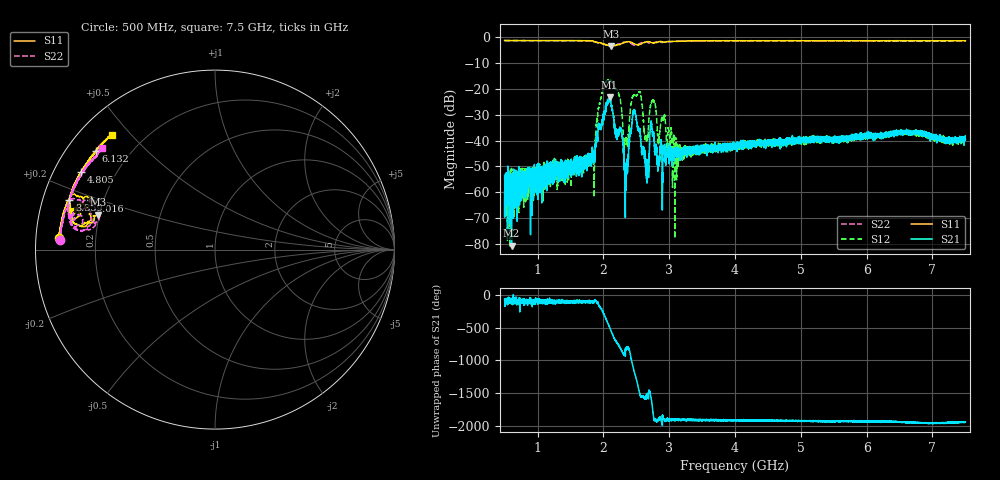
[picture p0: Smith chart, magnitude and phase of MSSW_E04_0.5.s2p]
!Keysight Technologies,M9374A,MY55442783,A.12.55.05
!Date: Wednesday, May 19, 2021 18:09:39
!Correction: S11(Full 2 Port(1,2))
!S21(Full 2 Port(1,2))
!S12(Full 2 Port(1,2))
!S22(Full 2 Port(1,2))
!S2P File: Measurements: S11, S21, S12, S22:
# Hz S  RI  R 50
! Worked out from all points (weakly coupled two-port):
!   7001 points, 500 MHz to 7.5 GHz, reference 50 ohm
!   highest |S21| = -23.20 dB at 2.095 GHz (marker M1); lowest = -80.8 dB at 605 MHz (marker M2)
!   lowest |S11| = -3.3 dB at 2.114 GHz (marker M3), VSWR 5.29, Z = 9.64 + j7.01 ohm
!   |S11| at or under -10 dB: nowhere
!   |S22| runs from -3.5 to -1.2 dB; largest |S21 - S12| = 0.11
!   S11 on the Smith chart (normalised r, x): 500 MHz: 0.07, +0.04; 2.016 GHz: 0.15, +0.19; 3.359 GHz: 0.08, +0.17; 4.805 GHz: 0.08, +0.27; 6.132 GHz: 0.08, +0.36; 7.5 GHz: 0.09, +0.44
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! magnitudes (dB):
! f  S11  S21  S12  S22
! 500 MHz  -1.2  -59.7  -53.3  -1.3
! 605 MHz  -1.2  -80.8  -57.8  -1.2
! 1.667 GHz  -1.3  -46.5  -49.0  -1.3
! 1.842 GHz  -1.4  -45.0  -46.9  -1.4
! 2.016 GHz  -2.6  -29.1  -18.7  -2.7
! 2.095 GHz  -3.2  -23.2  -16.9  -3.4
! 2.114 GHz  -3.3  -24.7  -16.7  -3.5
! 2.239 GHz  -2.8  -35.5  -22.2  -2.6
! 2.346 GHz  -1.7  -52.1  -40.3  -1.7
! 2.468 GHz  -2.4  -28.2  -22.4  -2.9
! 2.559 GHz  -2.6  -36.8  -21.3  -2.3
! 2.659 GHz  -1.7  -52.2  -40.0  -1.8
! 2.737 GHz  -2.1  -35.0  -25.1  -2.4
! 2.834 GHz  -1.7  -48.5  -39.9  -1.6
! 2.91 GHz  -1.7  -43.3  -32.0  -1.9
! 3.359 GHz  -1.3  -44.3  -44.0  -1.4
! 4 GHz  -1.3  -42.0  -41.6  -1.3
! 4.805 GHz  -1.3  -39.5  -39.7  -1.3
! 5.167 GHz  -1.3  -39.2  -39.4  -1.4
! 6.132 GHz  -1.3  -37.7  -38.1  -1.4
! 6.334 GHz  -1.3  -37.0  -38.3  -1.4
! 7.5 GHz  -1.3  -39.5  -39.6  -1.4
